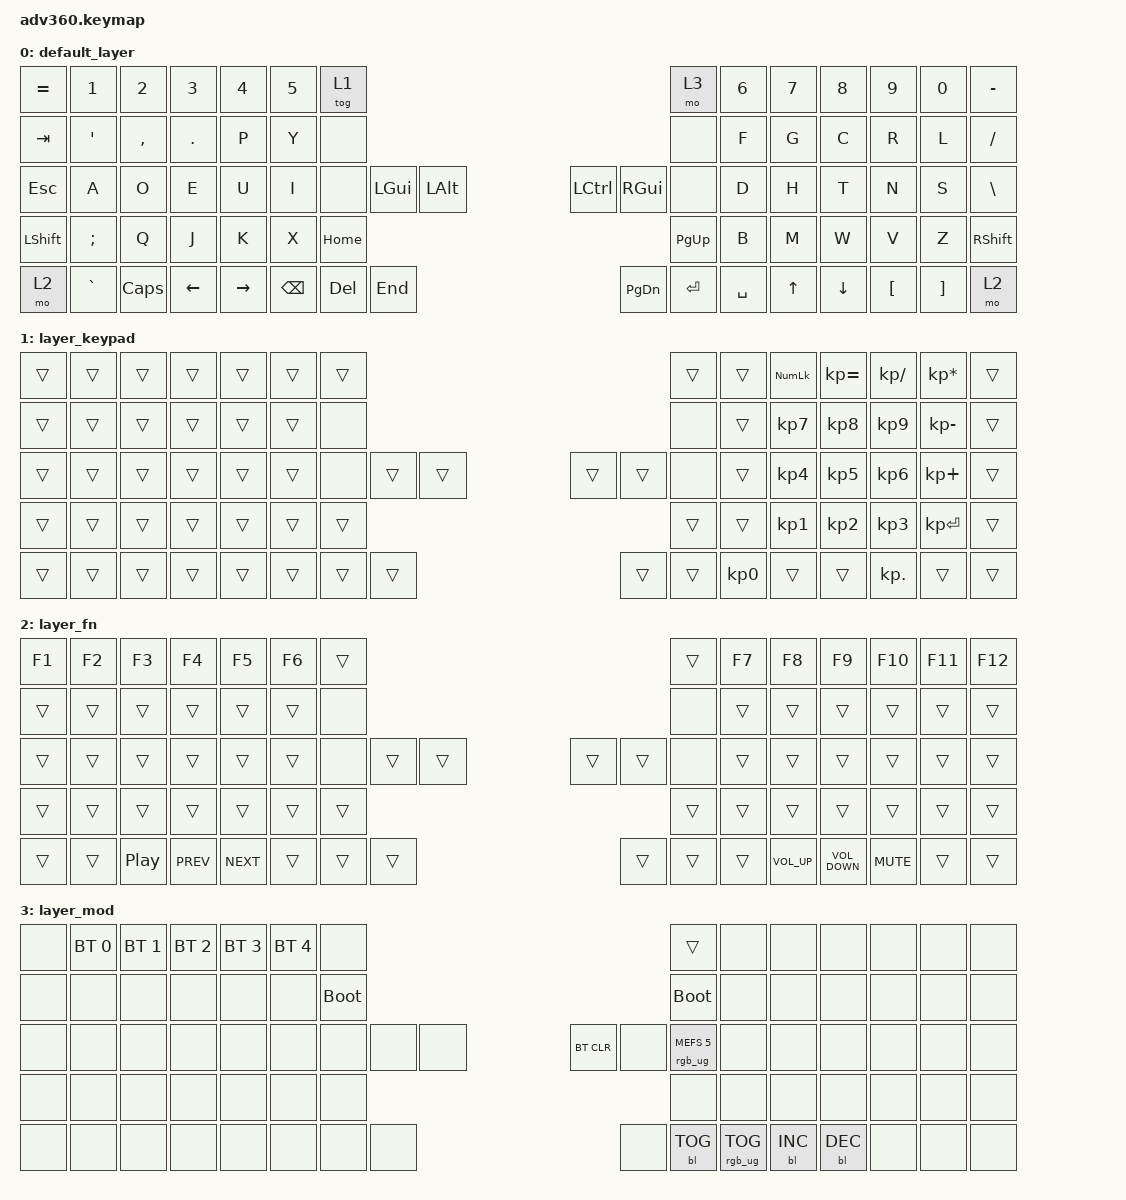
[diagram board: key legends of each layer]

/*
 * Copyright (c) 2020 The ZMK Contributors
 *
 * SPDX-License-Identifier: MIT
 */


/* THIS FILE WAS GENERATED!
 *
 * This file was generated automatically. You may or may not want to
 * edit it directly.
 */

#include <behaviors.dtsi>
#include <dt-bindings/zmk/keys.h>
#include <dt-bindings/zmk/bt.h>
#include <dt-bindings/zmk/rgb.h>
#include <dt-bindings/zmk/backlight.h>

/ {
  behaviors {
    #include "macros.dtsi"

    hm: homerow_mods {
        compatible = "zmk,behavior-hold-tap";
        label = "HOMEROW_MODS";
        #binding-cells = <2>;
        tapping-term-ms = <200>;
        quick_tap_ms = <175>;
        flavor = "tap-preferred";
        bindings = <&kp>, <&kp>;
    };
  };

    keymap {
        compatible = "zmk,keymap";


        default_layer {
            bindings = <
 &kp EQUAL          &kp N1     &kp N2    &kp N3     &kp N4  &kp N5              &tog 1                                                                &mo 3  &kp N6  &kp N7    &kp N8    &kp N9    &kp N0  &kp MINUS
   &kp TAB  &kp APOSTROPHE  &kp COMMA   &kp DOT      &kp P   &kp Y               &none                                                                &none   &kp F   &kp G     &kp C     &kp R     &kp L   &kp FSLH
   &kp ESC           &kp A      &kp O     &kp E      &kp U   &kp I               &none  &kp LGUI  &kp LALT                  &kp LCTRL   &kp RGUI      &none   &kp D   &kp H     &kp T     &kp N     &kp S   &kp BSLH
 &kp LSHFT   &kp SEMICOLON      &kp Q     &kp J      &kp K   &kp X                                &kp HOME                  &kp PG_UP                         &kp B   &kp M     &kp W     &kp V     &kp Z  &kp RSHFT
     &mo 2       &kp GRAVE   &kp CAPS  &kp LEFT  &kp RIGHT                    &kp BSPC   &kp DEL   &kp END                  &kp PG_DN  &kp ENTER  &kp SPACE          &kp UP  &kp DOWN  &kp LBKT  &kp RBKT      &mo 2
            >;
        };

        layer_keypad {
            bindings = <
 &trans  &trans  &trans  &trans  &trans  &trans            &trans                                                     &trans  &trans  &kp KP_NUM  &kp KP_EQUAL  &kp KP_DIVIDE  &kp KP_MULTIPLY  &trans
 &trans  &trans  &trans  &trans  &trans  &trans             &none                                                      &none  &trans   &kp KP_N7     &kp KP_N8      &kp KP_N9     &kp KP_MINUS  &trans
 &trans  &trans  &trans  &trans  &trans  &trans             &none  &trans  &trans                  &trans  &trans      &none  &trans   &kp KP_N4     &kp KP_N5      &kp KP_N6      &kp KP_PLUS  &trans
 &trans  &trans  &trans  &trans  &trans  &trans                            &trans                  &trans                     &trans   &kp KP_N1     &kp KP_N2      &kp KP_N3     &kp KP_ENTER  &trans
 &trans  &trans  &trans  &trans  &trans                    &trans  &trans  &trans                  &trans  &trans  &kp KP_N0              &trans        &trans     &kp KP_DOT           &trans  &trans
            >;
        };

        layer_fn {
            bindings = <
 &kp F1  &kp F2            &kp F3      &kp F4      &kp F5  &kp F6            &trans                                                  &trans  &kp F7        &kp F8             &kp F9     &kp F10  &kp F11  &kp F12
 &trans  &trans            &trans      &trans      &trans  &trans             &none                                                   &none  &trans        &trans             &trans      &trans   &trans   &trans
 &trans  &trans            &trans      &trans      &trans  &trans             &none  &trans  &trans                  &trans  &trans   &none  &trans        &trans             &trans      &trans   &trans   &trans
 &trans  &trans            &trans      &trans      &trans  &trans                            &trans                  &trans                  &trans        &trans             &trans      &trans   &trans   &trans
 &trans  &trans  &kp C_PLAY_PAUSE  &kp C_PREV  &kp C_NEXT                    &trans  &trans  &trans                  &trans  &trans  &trans          &kp C_VOL_UP  &kp C_VOLUME_DOWN  &kp C_MUTE   &trans   &trans
            >;
        };

        layer_mod {
            bindings = <
  &none  &bt BT_SEL 0  &bt BT_SEL 1  &bt BT_SEL 2  &bt BT_SEL 3  &bt BT_SEL 4                  &none                                                                          &trans   &none       &none       &none   &none   &none   &none
  &none         &none         &none         &none         &none         &none            &bootloader                                                                     &bootloader   &none       &none       &none   &none   &none   &none
  &none         &none         &none         &none         &none         &none                  &none   &none   &none                  &bt BT_CLR       &none  &rgb_ug RGB_MEFS_CMD 5   &none       &none       &none   &none   &none   &none
  &none         &none         &none         &none         &none         &none                                  &none                       &none                                       &none       &none       &none   &none   &none   &none
  &none         &none         &none         &none         &none                                &none   &none   &none                       &none  &bl BL_TOG         &rgb_ug RGB_TOG          &bl BL_INC  &bl BL_DEC   &none   &none   &none
            >;
        };

    };
};
